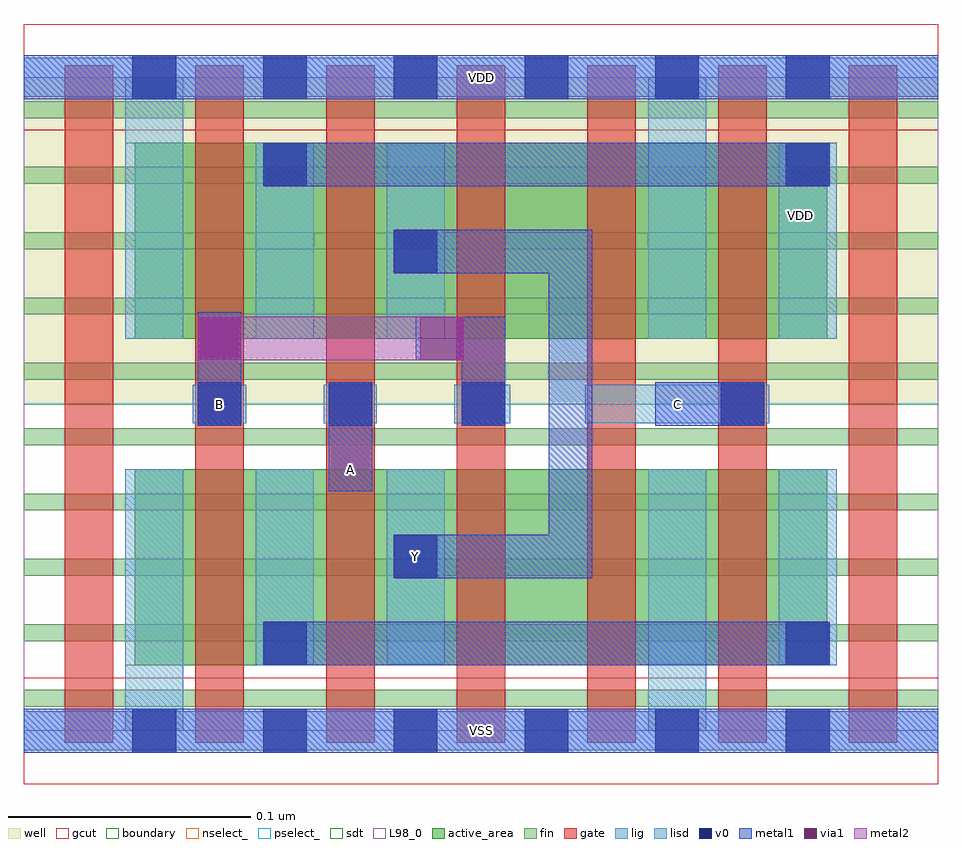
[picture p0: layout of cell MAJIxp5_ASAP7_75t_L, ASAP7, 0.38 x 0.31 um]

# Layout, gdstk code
import gdstk
lib = gdstk.Library(unit=1e-6, precision=2.5e-10)
def R(c, l, rs):  # rectangles x0, y0, x1, y1
    for r in rs: c.add(gdstk.rectangle(r[:2], r[2:], *l))
def A(c, l, x, y, w, h, nx, ny, dx, dy):  # array of equal rectangles
    R(c, l, [(x+i*dx, y+j*dy, x+i*dx+w, y+j*dy+h) for i in range(nx) for j in range(ny)])
def P(c, l, *ps):  # polygons
    for p in ps: c.add(gdstk.Polygon(p, *l))
well = (1, 0)
fin = (2, 0)
gate = (7, 0)
gcut = (10, 0)
active_area = (11, 0)
nselect_ = (12, 0)
pselect_ = (13, 0)
lig = (16, 0)
lisd = (17, 0)
v0 = (18, 0)
metal1 = (19, 0)
metal2 = (20, 0)
via1 = (21, 0)
sdt = (88, 0)
L98_0 = (98, 0)
boundary = (100, 0)

majixp5_asap7_75t_l = lib.new_cell('MAJIxp5_ASAP7_75t_L')
R(majixp5_asap7_75t_l, well, [(0,0.135,0.378,0.27)])
A(majixp5_asap7_75t_l, fin, 0, 0.01, 0.378, 0.007, 1, 10, 0, 0.027)
A(majixp5_asap7_75t_l, gate, 0.017, -0.005, 0.02, 0.28, 7, 1, 0.054, 0)
R(majixp5_asap7_75t_l, gcut, [(0,-0.022,0.378,0.022), (0,0.248,0.378,0.292)])
R(majixp5_asap7_75t_l, active_area, [(0.046,0.027,0.332,0.108), (0.046,0.162,0.332,0.243)])
R(majixp5_asap7_75t_l, nselect_, [(0,0,0.378,0.135)])
R(majixp5_asap7_75t_l, pselect_, [(0,0.135,0.378,0.27)])
R(majixp5_asap7_75t_l, lig, [(0,-0.008,0.378,0.008), (0.07,0.127,0.092,0.143), (0.124,0.127,0.146,0.143), (0.178,0.127,0.201,0.143), (0.232,0.127,0.308,0.143), (0,0.262,0.378,0.278)])
R(majixp5_asap7_75t_l, lisd, [(0.042,0,0.066,0.108), (0.258,0,0.282,0.108), (0.096,0.027,0.12,0.108), (0.15,0.027,0.174,0.108), (0.312,0.027,0.336,0.108), (0.042,0.162,0.066,0.27), (0.096,0.162,0.12,0.243), (0.15,0.162,0.174,0.243), (0.258,0.162,0.282,0.27), (0.312,0.162,0.336,0.243)])
A(majixp5_asap7_75t_l, v0, 0.045, -0.009, 0.018, 0.018, 6, 2, 0.054, 0.27)
R(majixp5_asap7_75t_l, v0, [(0.099,0.027,0.117,0.045), (0.315,0.027,0.333,0.045), (0.153,0.063,0.171,0.081), (0.072,0.126,0.09,0.144), (0.126,0.126,0.144,0.144), (0.181,0.126,0.199,0.144), (0.288,0.126,0.306,0.144), (0.153,0.189,0.171,0.207), (0.099,0.225,0.117,0.243), (0.315,0.225,0.333,0.243)])
R(majixp5_asap7_75t_l, metal1, [(0,-0.009,0.378,0.009), (0.099,0.027,0.333,0.045), (0.126,0.099,0.144,0.144), (0.072,0.126,0.09,0.173), (0.261,0.126,0.306,0.144), (0.099,0.225,0.333,0.243), (0,0.261,0.378,0.279)])
P(majixp5_asap7_75t_l, metal1, [(0.181,0.126),(0.181,0.153),(0.162,0.153),(0.162,0.171),(0.199,0.171),(0.199,0.126)],
  [(0.153,0.063),(0.153,0.081),(0.217,0.081),(0.217,0.189),(0.153,0.189),(0.153,0.207),(0.235,0.207),(0.235,0.063)])
R(majixp5_asap7_75t_l, metal2, [(0.072,0.153,0.182,0.171)])
R(majixp5_asap7_75t_l, via1, [(0.072,0.153,0.09,0.171), (0.164,0.153,0.182,0.171)])
A(majixp5_asap7_75t_l, sdt, 0.042, 0.027, 0.024, 0.081, 3, 2, 0.054, 0.135)
R(majixp5_asap7_75t_l, sdt, [(0.258,0.027,0.282,0.108), (0.312,0.027,0.336,0.108), (0.258,0.162,0.282,0.243), (0.312,0.162,0.336,0.243)])
R(majixp5_asap7_75t_l, L98_0, [(0,0,0.378,0.27)])
R(majixp5_asap7_75t_l, boundary, [(0,0,0.378,0.27)])
majixp5_asap7_75t_l.add(gdstk.Label('C', (0.27,0.135), layer=19, texttype=251))
majixp5_asap7_75t_l.add(gdstk.Label('Y', (0.162,0.072), layer=19, texttype=251))
majixp5_asap7_75t_l.add(gdstk.Label('A', (0.135,0.108), layer=19, texttype=251))
majixp5_asap7_75t_l.add(gdstk.Label('B', (0.081,0.135), layer=19, texttype=251))
majixp5_asap7_75t_l.add(gdstk.Label('VSS', (0.189,0), layer=19, texttype=251))
majixp5_asap7_75t_l.add(gdstk.Label('VDD', (0.189,0.27), layer=19, texttype=251))
majixp5_asap7_75t_l.add(gdstk.Label('VDD', (0.321,0.213), layer=1, texttype=251))
majixp5_asap7_75t_l.add(gdstk.Label('VSS', (0.435,0.213), layer=3, texttype=251))

lib.write_gds('MAJIxp5_ASAP7_75t_L.gds')
